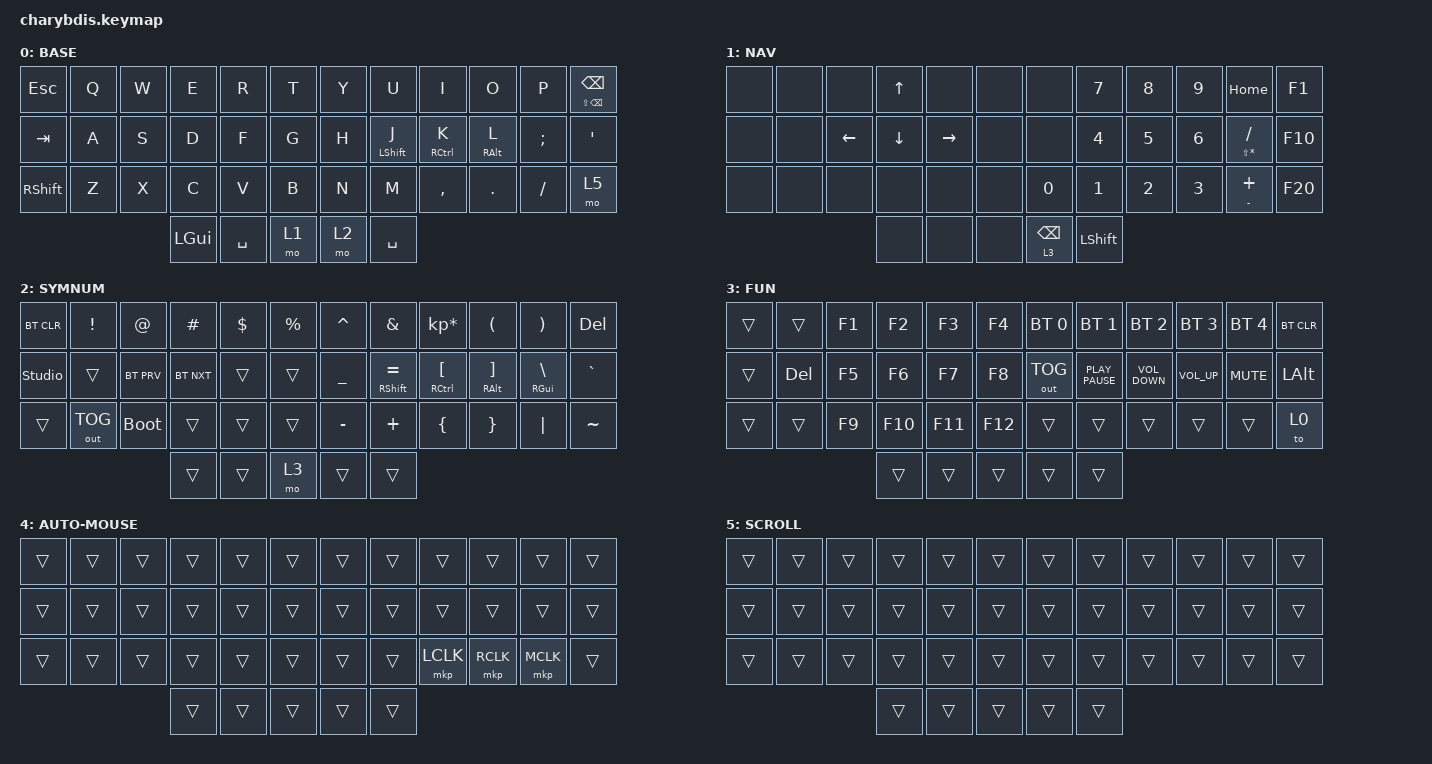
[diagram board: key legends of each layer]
#include <dt-bindings/zmk/mouse.h>
#include <input/processors.dtsi>
#include <dt-bindings/zmk/input_transform.h>
#include <behaviors.dtsi>
#include <dt-bindings/zmk/bt.h>
#include <dt-bindings/zmk/keys.h>
#include <dt-bindings/zmk/outputs.h>
#include <dt-bindings/zmk/pointing.h>

#define U_TAPPING_TERM 200

/ {
    trackball_listener {
        compatible = "zmk,input-listener";
        device = <&trackball>;
        input-processors = <&zip_xy_scaler 1 2>, <&zip_temp_layer 4 400>;

        // Switch to auto-mouse temp layer, decrease sensitivity

        scroll {
            layers = <5>; // SCROLL
            input-processors =
                <&zip_xy_scaler 1 5>,
                <&zip_xy_to_scroll_mapper>,
                <&zip_scroll_transform (INPUT_TRANSFORM_Y_INVERT)>;
        };
    };

    combos {
        compatible = "zmk,combos";

        LeftClickRight {
            bindings = <&mkp LCLK>;
            key-positions = <19 20>;
        };

        RightClickRight {
            bindings = <&mkp RCLK>;
            key-positions = <20 21>;
        };

        MiddleClickRight {
            bindings = <&mkp MCLK>;
            key-positions = <21 22>;
        };

        ParaLeft {
            bindings = <&kp LEFT_PARENTHESIS>;
            key-positions = <4 16>;
        };

        ParaRight {
            bindings = <&kp RIGHT_PARENTHESIS>;
            key-positions = <7 19>;
        };

        BrakLeft {
            bindings = <&kp LEFT_BRACKET>;
            key-positions = <3 15>;
        };

        BrakRight {
            bindings = <&kp RIGHT_BRACKET>;
            key-positions = <8 20>;
        };

        BraceLeft {
            bindings = <&kp LEFT_BRACE>;
            key-positions = <2 14>;
        };

        BraceRight {
            bindings = <&kp RIGHT_BRACE>;
            key-positions = <9 21>;
        };

        Delete {
            bindings = <&kp DELETE>;
            key-positions = <8 9>;
        };

        CapsWord {
            bindings = <&caps_word>;
            key-positions = <17 18>;
        };
    };

    behaviors {
        u_mt: u_mt {
            compatible = "zmk,behavior-hold-tap";
            label = "u_mt";
            #binding-cells = <2>;
            tapping_term_ms = <U_TAPPING_TERM>;
            flavor = "tap-preferred";
            bindings = <&kp>, <&kp>;
        };

        u_lt: u_lt {
            compatible = "zmk,behavior-hold-tap";
            label = "u_lt";
            #binding-cells = <2>;
            tapping_term_ms = <U_TAPPING_TERM>;
            flavor = "tap-preferred";
            bindings = <&mo>, <&kp>;
        };

        Shift_Enter: Shift_Enter {
            compatible = "zmk,behavior-hold-tap";
            label = "SHIFT_ENTER";
            bindings = <&kp>, <&kp>;

            #binding-cells = <2>;
            hold-trigger-key-positions = <40>;
            tapping-term-ms = <100>;
        };
    };

    keymap {
        compatible = "zmk,keymap";

        BASE {
            bindings = <
&kp ESC          &kp Q  &kp W  &kp E     &kp R      &kp T    &kp Y  &kp U               &kp I          &kp O              &kp P          &mt LS(BSPC) BACKSPACE
&kp TAB          &kp A  &kp S  &kp D     &kp F      &kp G    &kp H  &u_mt LEFT_SHIFT J  &u_mt RCTRL K  &u_mt RIGHT_ALT L  &kp SEMICOLON  &kp APOS
&kp RIGHT_SHIFT  &kp Z  &kp X  &kp C     &kp V      &kp B    &kp N  &kp M               &kp COMMA      &kp DOT            &kp FSLH       &mo 5
                               &kp LGUI  &kp SPACE  &mo 1    &mo 2  &kp SPACE
            >;
        };

        NAV {
            bindings = <
&none  &none  &none           &kp UP_ARROW  &none      &none    &none            &kp N7        &kp N8        &kp N9        &kp HOME                &kp F1
&none  &none  &kp LEFT_ARROW  &kp DOWN      &kp RIGHT  &none    &none            &kp NUMBER_4  &kp N5        &kp NUMBER_6  &mt LS(ASTERISK) SLASH  &kp F10
&none  &none  &none           &none         &none      &none    &kp N0           &kp NUMBER_1  &kp NUMBER_2  &kp NUMBER_3  &mt MINUS PLUS          &kp F20
                              &none         &none      &none    &lt 3 BACKSPACE  &kp LSHFT
            >;
        };

        SYMNUM {
            bindings = <
&bt BT_CLR      &kp EXCL      &kp AT       &kp HASH    &kp DLLR  &kp PRCNT    &kp CARET  &kp AMPS                 &kp KP_MULTIPLY   &kp LPAR              &kp RPAR              &kp DEL
&studio_unlock  &trans        &bt BT_PRV   &bt BT_NXT  &trans    &trans       &kp UNDER  &u_mt RIGHT_SHIFT EQUAL  &u_mt RCTRL LBKT  &u_mt RIGHT_ALT RBKT  &u_mt RIGHT_GUI BSLH  &kp GRAVE
&trans          &out OUT_TOG  &bootloader  &trans      &trans    &trans       &kp MINUS  &kp PLUS                 &kp LBRC          &kp RBRC              &kp PIPE              &kp TILDE
                                           &trans      &trans    &mo 3        &trans     &trans
            >;
        };

        FUN {
            bindings = <
&trans  &trans   &kp F1  &kp F2   &kp F3   &kp F4     &bt BT_SEL 0  &bt BT_SEL 1      &bt BT_SEL 2       &bt BT_SEL 3     &bt BT_SEL 4  &bt BT_CLR
&trans  &kp DEL  &kp F5  &kp F6   &kp F7   &kp F8     &out OUT_TOG  &kp K_PLAY_PAUSE  &kp C_VOLUME_DOWN  &kp C_VOLUME_UP  &kp C_MUTE    &kp LALT
&trans  &trans   &kp F9  &kp F10  &kp F11  &kp F12    &trans        &trans            &trans             &trans           &trans        &to 0
                         &trans   &trans   &trans     &trans        &trans
            >;
        };

        AUTO-MOUSE {
            bindings = <
&trans  &trans  &trans  &trans  &trans  &trans    &trans  &trans  &trans     &trans     &trans     &trans
&trans  &trans  &trans  &trans  &trans  &trans    &trans  &trans  &trans     &trans     &trans     &trans
&trans  &trans  &trans  &trans  &trans  &trans    &trans  &trans  &mkp LCLK  &mkp RCLK  &mkp MCLK  &trans
                        &trans  &trans  &trans    &trans  &trans
            >;
        };

        SCROLL {
            bindings = <
&trans  &trans  &trans  &trans  &trans  &trans    &trans  &trans  &trans  &trans  &trans  &trans
&trans  &trans  &trans  &trans  &trans  &trans    &trans  &trans  &trans  &trans  &trans  &trans
&trans  &trans  &trans  &trans  &trans  &trans    &trans  &trans  &trans  &trans  &trans  &trans
                        &trans  &trans  &trans    &trans  &trans
            >;
        };
    };
};
